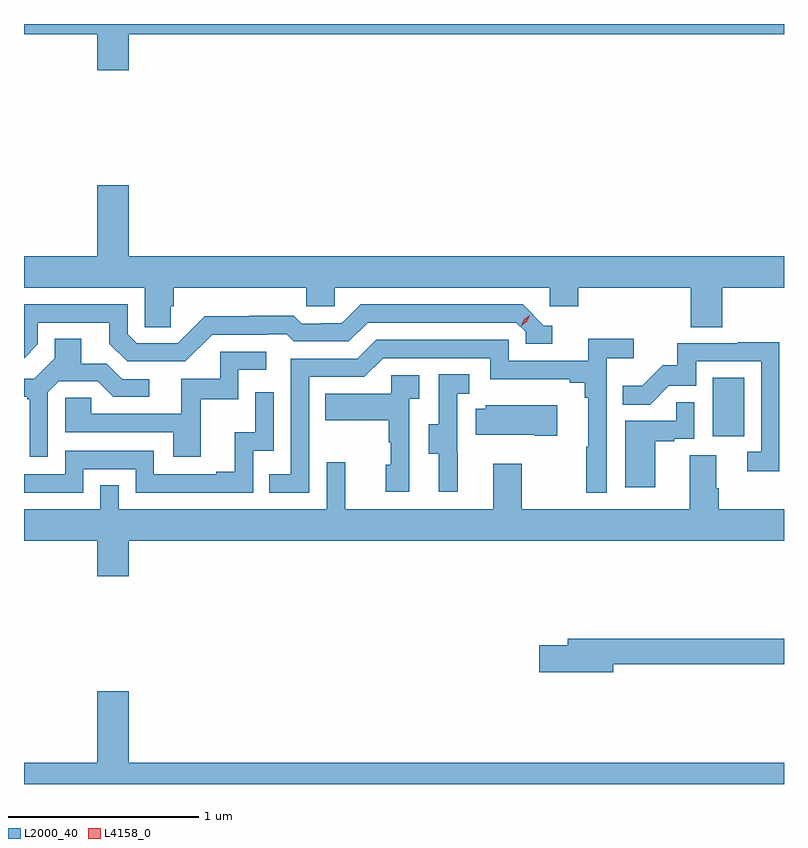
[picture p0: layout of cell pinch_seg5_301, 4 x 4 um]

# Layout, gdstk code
import gdstk
lib = gdstk.Library(unit=1e-6, precision=1e-09)
def R(c, l, rs):  # rectangles x0, y0, x1, y1
    for r in rs: c.add(gdstk.rectangle(r[:2], r[2:], *l))
def P(c, l, *ps):  # polygons
    for p in ps: c.add(gdstk.Polygon(p, *l))
L2000_40 = (2000, 40)
L4158_0 = (4158, 0)

pinch_seg5_301 = lib.new_cell('pinch_seg5_301')
R(pinch_seg5_301, L2000_40, [(911.504,889.278,911.668,889.585)])
P(pinch_seg5_301, L2000_40, [(908.428,891.392),(911.878,891.392),(911.878,891.447),(907.878,891.447),(907.878,891.392),(908.264,891.392),(908.264,891.204),(908.428,891.204)],
  [(908.651,889.962),(908.666,889.962),(908.666,890.06),(909.363,890.06),(909.363,889.962),(909.513,889.962),(909.513,890.06),(910.644,890.06),(910.644,889.962),(910.796,889.962),(910.796,890.06),(911.387,890.06),(911.387,889.852),(911.552,889.852),(911.552,890.06),(911.878,890.06),(911.878,890.224),(908.428,890.224),(908.428,890.599),(908.264,890.599),(908.264,890.224),(907.878,890.224),(907.878,890.06),(908.514,890.06),(908.514,889.852),(908.651,889.852)],
  [(908.868,889.812),(909.161,889.812),(909.161,889.815),(909.26,889.815),(909.299,889.776),(909.588,889.776),(909.687,889.875),(910.47,889.875),(910.518,889.827),(910.518,889.764),(910.657,889.764),(910.657,889.86),(910.614,889.86),(910.503,889.971),(909.65,889.971),(909.551,889.872),(909.444,889.872),(909.444,889.869),(909.341,889.869),(909.299,889.912),(909.066,889.912),(909.066,889.909),(908.83,889.909),(908.688,889.767),(908.472,889.767),(908.424,889.815),(908.424,889.971),(907.878,889.971),(907.878,889.689),(907.95,889.761),(907.95,889.875),(908.327,889.875),(908.327,889.765),(908.421,889.671),(908.727,889.671)],
  [(908.004,889.509),(908.061,889.566),(908.267,889.566),(908.348,889.485),(908.536,889.485),(908.536,889.578),(908.394,889.578),(908.314,889.658),(908.179,889.658),(908.179,889.79),(908.039,889.79),(908.039,889.688),(907.932,889.581),(907.878,889.581),(907.878,889.484),(907.896,889.484),(907.896,889.473),(907.907,889.473),(907.907,889.17),(908.004,889.17)],
  [(909.378,889.59),(909.669,889.59),(909.768,889.689),(910.332,889.689),(910.332,889.577),(910.751,889.577),(910.751,889.558),(910.828,889.558),(910.828,889.481),(910.847,889.481),(910.847,889.223),(910.836,889.223),(910.836,888.981),(910.944,888.981),(910.944,889.688),(911.086,889.688),(911.086,889.79),(910.847,889.79),(910.847,889.674),(910.428,889.674),(910.428,889.785),(909.731,889.785),(909.632,889.686),(909.282,889.686),(909.282,889.077),(909.169,889.077),(909.169,888.981),(909.378,888.981)],
  [(911.853,889.772),(911.635,889.772),(911.635,889.767),(911.317,889.767),(911.317,889.65),(911.24,889.65),(911.133,889.543),(911.029,889.543),(911.029,889.444),(911.173,889.444),(911.271,889.542),(911.415,889.542),(911.415,889.671),(911.757,889.671),(911.757,889.197),(911.685,889.197),(911.685,889.092),(911.853,889.092)],
  [(908.807,889.473),(909.006,889.473),(909.006,889.626),(909.154,889.626),(909.154,889.722),(908.91,889.722),(908.91,889.581),(908.705,889.581),(908.705,889.395),(908.231,889.395),(908.231,889.479),(908.094,889.479),(908.094,889.299),(908.663,889.299),(908.663,889.17),(908.807,889.17)],
  [(910.16,889.197),(910.158,889.197),(910.158,889.501),(910.222,889.501),(910.222,889.604),(910.062,889.604),(910.062,889.341),(910.007,889.341),(910.007,889.186),(910.061,889.186),(910.061,888.984),(910.16,888.984)],
  [(909.906,889.475),(909.958,889.475),(909.958,889.599),(909.81,889.599),(909.81,889.501),(909.463,889.501),(909.463,889.361),(909.798,889.361),(909.798,889.247),(909.808,889.247),(909.808,889.128),(909.782,889.128),(909.782,888.984),(909.906,888.984)],
  [(908.19,889.104),(908.466,889.104),(908.466,888.981),(909.084,888.981),(909.084,889.2),(909.192,889.2),(909.192,889.51),(909.096,889.51),(909.096,889.298),(908.987,889.298),(908.987,889.09),(908.891,889.09),(908.891,889.077),(908.562,889.077),(908.562,889.2),(908.094,889.2),(908.094,889.077),(907.878,889.077),(907.878,888.981),(908.19,888.981)],
  [(911.2,889.251),(911.3,889.251),(911.3,889.263),(911.406,889.263),(911.406,889.457),(911.311,889.457),(911.311,889.359),(911.042,889.359),(911.042,889.008),(911.2,889.008)],
  [(910.684,889.441),(910.308,889.441),(910.308,889.423),(910.255,889.423),(910.255,889.286),(910.565,889.286),(910.565,889.279),(910.684,889.279)],
  [(908.428,888.728),(911.878,888.728),(911.878,888.892),(911.534,888.892),(911.534,889.004),(911.521,889.004),(911.521,889.178),(911.381,889.178),(911.381,888.892),(910.497,888.892),(910.497,889.132),(910.349,889.132),(910.349,888.892),(909.569,888.892),(909.569,889.141),(909.471,889.141),(909.471,888.892),(908.376,888.892),(908.376,889.019),(908.28,889.019),(908.28,888.892),(907.878,888.892),(907.878,888.728),(908.264,888.728),(908.264,888.54),(908.428,888.54)],
  [(910.978,888.076),(911.878,888.076),(911.878,888.212),(910.739,888.212),(910.739,888.176),(910.59,888.176),(910.59,888.034),(910.978,888.034)],
  [(911.878,887.56),(908.428,887.56),(908.428,887.935),(908.264,887.935),(908.264,887.56),(907.878,887.56),(907.878,887.447),(911.878,887.447)])
P(pinch_seg5_301, L4158_0, [(910.495,889.86),(910.495,889.86),(910.51,889.893),(910.541,889.913),(910.541,889.913),(910.541,889.913),(910.525,889.88),(910.495,889.86)])

lib.write_gds('pinch_seg5_301.gds')
